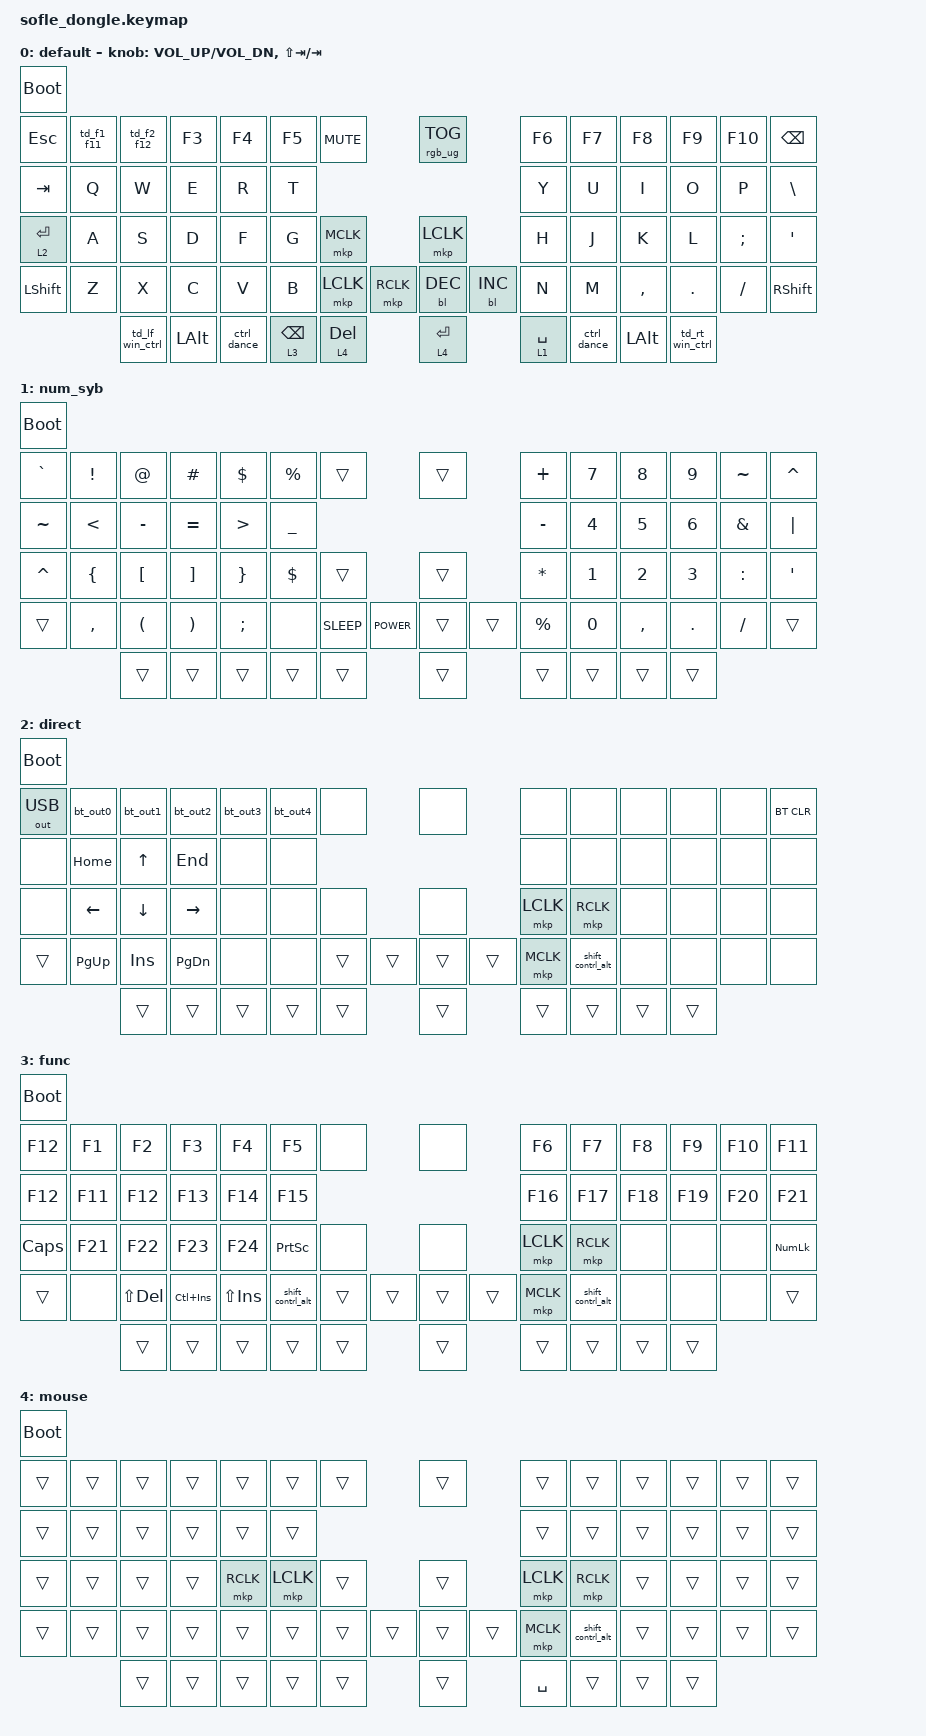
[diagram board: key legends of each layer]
/*
 * Copyright (c) 2025 ZitaoTech
 *
 * SPDX-License-Identifier: MIT
 */

#include <dt-bindings/zmk/mouse.h>
#include <behaviors.dtsi>
#include <dt-bindings/zmk/backlight.h>
#include <dt-bindings/zmk/bt.h>
#include <dt-bindings/zmk/keys.h>
#include <dt-bindings/zmk/outputs.h>
#include <dt-bindings/zmk/pointing.h>
#include <dt-bindings/zmk/rgb.h>
#include <dt-bindings/input/input-event-codes.h>

/*
 * 这里原本有 zip_temp_layer + ip_behaviors0~3 四个 input-processor。
 * 本分支的指针语义是「指针设备跟随层」，模式判断在驱动里做（见各 shield 的
 * Kconfig），不靠 zip_temp_layer 反向顶键盘的层；方向键功能已全删，
 * ip_behaviors 没有存在意义。故整块移除。
 */
/ {
    behaviors {

        td_lf_win_ctrl: tap_dance_lf_win_ctrl {
            compatible = "zmk,behavior-tap-dance";
            #binding-cells = <0>;
            tapping-term-ms = <220>;
            bindings = <&kp LEFT_WIN>, <&kp LG(LCTRL)>;
        };

        td_rt_win_ctrl: tap_dance_rt_win_ctrl {
            compatible = "zmk,behavior-tap-dance";
            #binding-cells = <0>;
            tapping-term-ms = <220>;
            bindings = <&kp RIGHT_WIN>, <&kp RG(RCTRL)>;
        };

        td_f1_f11: tap_dance_f1_f11 {
            compatible = "zmk,behavior-tap-dance";
            #binding-cells = <0>;
            tapping-term-ms = <220>;
            bindings = <&kp F1>, <&kp F11>;
        };

        td_f2_f12: tap_dance_f2_f12 {
            compatible = "zmk,behavior-tap-dance";
            #binding-cells = <0>;
            tapping-term-ms = <220>;
            bindings = <&kp F2>, <&kp F12>;
        };

        BLE_encoder: BLE_encoder {
            compatible = "zmk,behavior-sensor-rotate";
            #sensor-binding-cells = <0>;
            bindings = <&bt BT_NXT>, <&bt BT_PRV>;
        };

        ctrl_dance: ctrl_dance {
            compatible = "zmk,behavior-tap-dance";
            label = "CTRL_DANCE";
            #binding-cells = <0>;
            bindings = <&kp LEFT_CONTROL>, <&kp RIGHT_CONTROL>;

            tapping-term-ms = <220>;
        };

fn_tap: fn_tap {
    compatible = "zmk,behavior-hold-tap";
    label = "FN_TAP";
    bindings = <&mo>, <&kp>;

    #binding-cells = <2>;
    quick-tap-ms = <180>;
    
    // 【修改 1】缩小单击容差窗口（Tap Tolerance Window）
    tapping-term-ms = <80>; 
    
    flavor = "hold-preferred"; 
};
    };

    macros {
        #include "dts/bt_force_macros.dtsi"

        shift_contrl_alt: shift_contrl_alt {
            compatible = "zmk,behavior-macro";
            #binding-cells = <0>;
            bindings = <&kp LEFT_SHIFT &kp LCTRL &kp LEFT_ALT>;
            label = "SHIFT_CONTRL_ALT";
        };
    };

    keymap {
        compatible = "zmk,keymap";
// -----------------------------------------------------------------------------------------------------------------------------------------------------------
// [ 矩阵索引 (Matrix Index) ]
// |    0    |
//
// |    1    |    2    |    3    |    4    |    5    |    6    |    7    |         |    8    |    9    |   10    |   11    |   12    |   13    |   14    |
// |   15    |   16    |   17    |   18    |   19    |   20    |                             |   21    |   22    |   23    |   24    |   25    |   26    |
// |   27    |   28    |   29    |   30    |   31    |   32    |   33    |         |   34    |   35    |   36    |   37    |   38    |   39    |   40    |
// |   41    |   42    |   43    |   44    |   45    |   46    | 47 | 48 |         | 49 | 50 |   51    |   52    |   53    |   54    |   55    |   56    |
//                     |   57    |   58    |   59    |   60    |   61    |         |   62    |   63    |   64    |   65    |   66    |
// -----------------------------------------------------------------------------------------------------------------------------------------------------------

// -----------------------------------------------------------------------------------------------------------------------------------------------------------
// [ Layer 0 : Default ]
// |  BOOT   | // 该按键在接收器上
//
// |   ESC   | F1/F11  | F2/F12  |   F3    |   F4    |   F5    |  MUTE   |         |   RGB   |   F6    |   F7    |   F8    |   F9    |   F10   |  BKSP   |
// |   TAB   |    Q    |    W    |    E    |    R    |    T    |                             |    Y    |    U    |    I    |    O    |    P    |    \    |
// | FN2/ENT |    A    |    S    |    D    |    F    |    G    |  MCLK   |         |  LCLK   |    H    |    J    |    K    |    L    |    ;    |    '    |
// |  LSHFT  |    Z    |    X    |    C    |    V    |    B    |LCLK|RCLK|         | BL-|BL+ |    N    |    M    |    ,    |    .    |    /    |  RSHFT  |
//                     | LF_W/C  |  LALT   |  CTL_D  | FN3/BKS | FN4/DEL |         | FN4/ENT | FN1/SPC |  CTL_D  |  LALT   | RT_W/C  |
// -----------------------------------------------------------------------------------------------------------------------------------------------------------
        default_layer {
            display-name = "default";
            bindings = <
&bootloader
&kp ESC         &td_f1_f11  &td_f2_f12      &kp F3          &kp F4          &kp F5              &kp C_MUTE                        &rgb_ug RGB_TOG       &kp F6          &kp F7            &kp F8    &kp F9          &kp F10   &kp BACKSPACE
&kp TAB         &kp Q       &kp W           &kp E           &kp R           &kp T                                                                       &kp Y           &kp U             &kp I     &kp O           &kp P     &kp BSLH
&fn_tap 2 ENTER &kp A       &kp S           &kp D           &kp F           &kp G               &mkp MCLK                         &mkp LCLK             &kp H           &kp J             &kp K     &kp L           &kp SEMI  &kp APOS
&kp LSHFT       &kp Z       &kp X           &kp C           &kp V           &kp B               &mkp LCLK   &mkp RCLK             &bl BL_DEC &bl BL_INC &kp N           &kp M             &kp COMMA &kp DOT         &kp FSLH  &kp RIGHT_SHIFT
                            &td_lf_win_ctrl &kp LALT        &ctrl_dance     &fn_tap 3 BACKSPACE &fn_tap 4 DEL                     &fn_tap 4 ENTER       &fn_tap 1 SPACE &ctrl_dance       &kp LALT  &td_rt_win_ctrl
            >;

            sensor-bindings =
                <&inc_dec_kp C_VOL_UP C_VOL_DN>,
                <&inc_dec_kp LS(TAB) TAB>;
        };

// -----------------------------------------------------------------------------------------------------------------------------------------------------------
// [ Layer 1 : Num & Symbols ]
// |  BOOT   | // 该按键在接收器上
//
// |    `    |    !    |    @    |    #    |    $    |    %    |  trans  |         |  trans  |    +    |    7    |    8    |    9    |    ~    |    ^    |
// |    ~    |    <    |    -    |    =    |    >    |    _    |                             |    -    |    4    |    5    |    6    |    &    |    |    |
// |    ^    |    {    |    [    |    ]    |    }    |    $    |  trans  |         |  trans  |    *    |    1    |    2    |    3    |    :    |    '    |
// |  trans  |    ,    |    (    |    )    |    ;    |  none   | SLP|PWR |         |TRNS|TRNS|    %    |    0    |    ,    |    .    |    /    |  trans  |
//                     |  trans  |  trans  |  trans  |  trans  |  trans  |         |  trans  |  trans  |  trans  |  trans  |  trans  |
// -----------------------------------------------------------------------------------------------------------------------------------------------------------
        num_syb {
            display-name = "num_syb";
            bindings = <
&bootloader
&kp GRAVE       &kp EXCL    &kp AT          &kp HASH        &kp DOLLAR      &kp PERCENT         &trans                            &trans                &kp PLUS        &kp N7            &kp N8    &kp N9          &kp TILDE &kp CARET
&kp TILDE       &kp LT      &kp MINUS       &kp EQUAL       &kp GT          &kp UNDERSCORE                                                              &kp MINUS       &kp N4            &kp N5    &kp N6          &kp AMPS  &kp PIPE
&kp CARET       &kp LBRC    &kp LBKT        &kp RBKT        &kp RBRC        &kp DOLLAR          &trans                            &trans                &kp ASTRK       &kp N1            &kp N2    &kp N3          &kp COLON &kp SQT
&trans          &kp COMMA   &kp LPAR        &kp RPAR        &kp SEMI        &none               &kp C_SLEEP &kp C_POWER           &trans     &trans     &kp PERCENT     &kp N0            &kp COMMA &kp DOT         &kp FSLH  &trans
                            &trans          &trans          &trans          &trans              &trans                            &trans                &trans          &trans            &trans    &trans
            >;
        };

// -----------------------------------------------------------------------------------------------------------------------------------------------------------
// [ Layer 2 : Direction & Media ]
// |  BOOT   | // 该按键在接收器上
//
// |   USB   |   BT0   |   BT1   |   BT2   |   BT3   |   BT4   |  none   |         |  none   |  none   |  none   |  none   |  none   |  none   | BT_CLR  |
// |  none   |  HOME   |    ↑    |   END   |  none   |  none   |                             |  none   |  none   |  none   |  none   |  none   |  none   |
// |  none   |    ←    |    ↓    |    →    |  none   |  none   |  none   |         |  none   |  LCLK   |  RCLK   |  none   |  none   |  none   |  none   |
// |  trans  |  PGUP   |   INS   |  PGDN   |  none   |  none   |TRNS|TRNS|         |TRNS|TRNS|  MCLK   |  S+C+A  |  none   |  none   |  none   |  none   |
//                     |  trans  |  trans  |  trans  |  trans  |  trans  |         |  trans  |  trans  |  trans  |  trans  |  trans  |
// -----------------------------------------------------------------------------------------------------------------------------------------------------------
        direction {
            display-name = "direct";
            bindings = <
&bootloader
&out OUT_USB    &bt_out0    &bt_out1        &bt_out2        &bt_out3        &bt_out4            &none                             &none                 &none           &none             &none     &none           &none     &bt BT_CLR
&none           &kp HOME    &kp UP          &kp END         &none           &none                                                                       &none           &none             &none     &none           &none     &none
&none           &kp LEFT    &kp DOWN        &kp RIGHT       &none           &none               &none                             &none                 &mkp LCLK       &mkp RCLK         &none     &none           &none     &none
&trans          &kp PG_UP   &kp INSERT      &kp PG_DN       &none           &none               &trans      &trans                &trans     &trans     &mkp MCLK       &shift_contrl_alt &none     &none           &none     &none
                            &trans          &trans          &trans          &trans              &trans                            &trans                &trans          &trans            &trans    &trans
            >;
        };

// -----------------------------------------------------------------------------------------------------------------------------------------------------------
// [ Layer 3 : Function ]
// |  BOOT   | // 该按键在接收器上
//
// |   F12   |   F1    |   F2    |   F3    |   F4    |   F5    |  none   |         |  none   |   F6    |   F7    |   F8    |   F9    |   F10   |   F11   |
// |   F12   |   F11   |   F12   |   F13   |   F14   |   F15   |                             |   F16   |   F17   |   F18   |   F19   |   F20   |   F21   |
// |  CAPS   |   F21   |   F22   |   F23   |   F24   |  PRSC   |  none   |         |  none   |  LCLK   |  RCLK   |  none   |  none   |  none   | NUM_LCK |
// |  trans  |  none   | S(DEL)  | C(INS)  | S(INS)  |  S+C+A  |TRNS|TRNS|         |TRNS|TRNS|  MCLK   |  S+C+A  |  none   |  none   |  none   |  trans  |
//                     |  trans  |  trans  |  trans  |  trans  |  trans  |         |  trans  |  trans  |  trans  |  trans  |  trans  |
// -----------------------------------------------------------------------------------------------------------------------------------------------------------
        fn_layer {
            display-name = "func";
            bindings = <
&bootloader
&kp F12         &kp F1      &kp F2          &kp F3          &kp F4          &kp F5              &none                             &none                 &kp F6          &kp F7            &kp F8    &kp F9          &kp F10   &kp F11
&kp F12         &kp F11     &kp F12         &kp F13         &kp F14         &kp F15                                                                     &kp F16         &kp F17           &kp F18   &kp F19         &kp F20   &kp F21
&kp CAPS        &kp F21     &kp F22         &kp F23         &kp F24         &kp PRINTSCREEN     &none                             &none                 &mkp LCLK       &mkp RCLK         &none     &none           &none     &kp KP_NLCK
&trans          &none       &kp LS(DELETE)  &kp LC(INSERT)  &kp LS(INSERT)  &shift_contrl_alt   &trans      &trans                &trans     &trans     &mkp MCLK       &shift_contrl_alt &none     &none           &none     &trans
                            &trans          &trans          &trans          &trans              &trans                            &trans                &trans          &trans            &trans    &trans
            >;
        };

        // 目前鼠标层的设计主要是为了配合左手键区的方向键层，以及ctrl c ctrl v ctrl x，但是无法使用fn层的万能复制粘贴键。
// -----------------------------------------------------------------------------------------------------------------------------------------------------------
// [ Layer 4 : Mouse ]
// |  BOOT   | // 该按键在接收器上
//
// |  trans  |  trans  |  trans  |  trans  |  trans  |  trans  |  trans  |         |  trans  |  trans  |  trans  |  trans  |  trans  |  trans  |  trans  |
// |  trans  |  trans  |  trans  |  trans  |  trans  |  trans  |                             |  trans  |  trans  |  trans  |  trans  |  trans  |  trans  |
// |  trans  |  trans  |  trans  |  trans  |  RCLK   |  LCLK   |  trans  |         |  trans  |  LCLK   |  RCLK   |  trans  |  trans  |  trans  |  trans  |
// |  trans  |  trans  |  trans  |  trans  |  trans  |  trans  |TRNS|TRNS|         |TRNS|TRNS|  MCLK   |  S+C+A  |  trans  |  trans  |  trans  |  trans  |
//                     |  trans  |  trans  |  trans  |  trans  |  trans  |         |  trans  |  SPACE  |  trans  |  trans  |  trans  |
// -----------------------------------------------------------------------------------------------------------------------------------------------------------
        mouse_layer {
            display-name = "mouse";
            bindings = <
&bootloader
&trans          &trans      &trans          &trans          &trans          &trans              &trans                            &trans                &trans          &trans            &trans    &trans          &trans    &trans
&trans          &trans      &trans          &trans          &trans          &trans                                                                      &trans          &trans            &trans    &trans          &trans    &trans
&trans          &trans      &trans          &trans          &mkp RCLK       &mkp LCLK           &trans                            &trans                &mkp LCLK       &mkp RCLK         &trans    &trans          &trans    &trans
&trans          &trans      &trans          &trans          &trans          &trans              &trans      &trans                &trans     &trans     &mkp MCLK       &shift_contrl_alt &trans    &trans          &trans    &trans
                            &trans          &trans          &trans          &trans              &trans                            &trans                &kp SPACE       &trans            &trans    &trans
            >;
        };
    };
};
